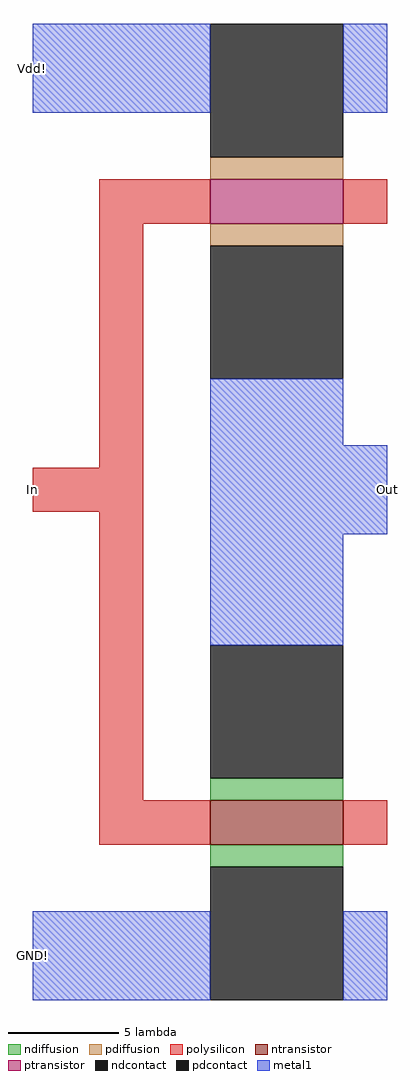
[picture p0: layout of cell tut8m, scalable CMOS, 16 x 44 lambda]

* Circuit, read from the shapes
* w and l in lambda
.subckt tut8m GND! In Out Vdd!
M1 Out In GND! VSUBS nfet w=6 l=2
M2 Vdd! In Out NWELL pfet w=6 l=2
.ends

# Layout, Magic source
magic
tech scmos
<< polysilicon >>
rect 3 35 8 37
rect 14 35 16 37
rect 3 24 5 35
rect 0 22 5 24
rect 3 9 5 22
rect 3 7 8 9
rect 14 7 16 9
<< ndiffusion >>
rect 8 9 14 10
rect 8 6 14 7
<< pdiffusion >>
rect 8 37 14 38
rect 8 34 14 35
<< metal1 >>
rect 0 40 8 44
rect 14 40 16 44
rect 8 25 14 28
rect 8 21 16 25
rect 8 16 14 21
rect 0 0 8 4
rect 14 0 16 4
<< ndcontact >>
rect 8 10 14 16
rect 8 0 14 6
<< pdcontact >>
rect 8 38 14 44
rect 8 28 14 34
<< ntransistor >>
rect 8 7 14 9
<< ptransistor >>
rect 8 35 14 37
<< labels >>
rlabel metal1 0 40 0 44 7 Vdd!
rlabel metal1 0 0 0 4 7 GND!
rlabel polysilicon 0 22 0 24 7 In
rlabel metal1 16 21 16 25 3 Out
<< end >>
